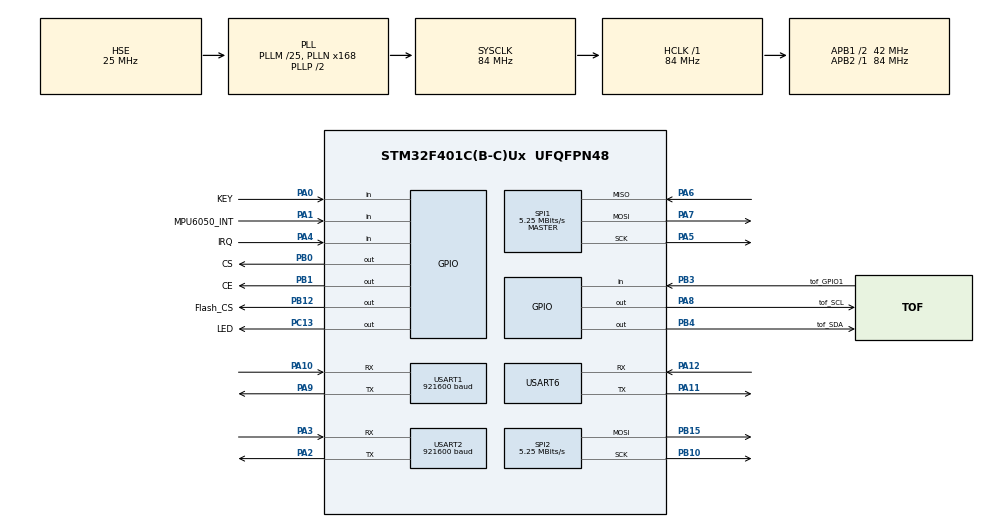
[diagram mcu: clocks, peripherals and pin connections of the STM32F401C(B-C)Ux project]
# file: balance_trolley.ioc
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Dma.MEMTOMEM.4.Direction=DMA_MEMORY_TO_MEMORY
Dma.MEMTOMEM.4.FIFOMode=DMA_FIFOMODE_ENABLE
Dma.MEMTOMEM.4.FIFOThreshold=DMA_FIFO_THRESHOLD_FULL
Dma.MEMTOMEM.4.Instance=DMA2_Stream1
Dma.MEMTOMEM.4.MemBurst=DMA_MBURST_SINGLE
Dma.MEMTOMEM.4.MemDataAlignment=DMA_MDATAALIGN_BYTE
Dma.MEMTOMEM.4.MemInc=DMA_MINC_ENABLE
Dma.MEMTOMEM.4.Mode=DMA_NORMAL
Dma.MEMTOMEM.4.PeriphBurst=DMA_PBURST_SINGLE
Dma.MEMTOMEM.4.PeriphDataAlignment=DMA_PDATAALIGN_BYTE
Dma.MEMTOMEM.4.PeriphInc=DMA_PINC_ENABLE
Dma.MEMTOMEM.4.Priority=DMA_PRIORITY_LOW
Dma.Request0=USART1_RX
Dma.Request1=USART1_TX
Dma.Request2=USART2_RX
Dma.Request3=USART2_TX
Dma.Request4=MEMTOMEM
Dma.Request5=SPI2_TX
Dma.SPI2_TX.5.Direction=DMA_MEMORY_TO_PERIPH
Dma.SPI2_TX.5.FIFOMode=DMA_FIFOMODE_DISABLE
Dma.SPI2_TX.5.Instance=DMA1_Stream4
Dma.SPI2_TX.5.MemDataAlignment=DMA_MDATAALIGN_BYTE
Dma.SPI2_TX.5.MemInc=DMA_MINC_ENABLE
Dma.SPI2_TX.5.Mode=DMA_NORMAL
Dma.SPI2_TX.5.PeriphDataAlignment=DMA_PDATAALIGN_BYTE
Dma.SPI2_TX.5.PeriphInc=DMA_PINC_DISABLE
Dma.SPI2_TX.5.Priority=DMA_PRIORITY_LOW
Dma.USART1_RX.0.Direction=DMA_PERIPH_TO_MEMORY
Dma.USART1_RX.0.FIFOMode=DMA_FIFOMODE_DISABLE
Dma.USART1_RX.0.Instance=DMA2_Stream2
Dma.USART1_RX.0.MemDataAlignment=DMA_MDATAALIGN_BYTE
Dma.USART1_RX.0.MemInc=DMA_MINC_ENABLE
Dma.USART1_RX.0.Mode=DMA_NORMAL
Dma.USART1_RX.0.PeriphDataAlignment=DMA_PDATAALIGN_BYTE
Dma.USART1_RX.0.PeriphInc=DMA_PINC_DISABLE
Dma.USART1_RX.0.Priority=DMA_PRIORITY_VERY_HIGH
Dma.USART1_TX.1.Direction=DMA_MEMORY_TO_PERIPH
Dma.USART1_TX.1.FIFOMode=DMA_FIFOMODE_DISABLE
Dma.USART1_TX.1.Instance=DMA2_Stream7
Dma.USART1_TX.1.MemDataAlignment=DMA_MDATAALIGN_BYTE
Dma.USART1_TX.1.MemInc=DMA_MINC_ENABLE
Dma.USART1_TX.1.Mode=DMA_NORMAL
Dma.USART1_TX.1.PeriphDataAlignment=DMA_PDATAALIGN_BYTE
Dma.USART1_TX.1.PeriphInc=DMA_PINC_DISABLE
Dma.USART1_TX.1.Priority=DMA_PRIORITY_VERY_HIGH
Dma.USART2_RX.2.Direction=DMA_PERIPH_TO_MEMORY
Dma.USART2_RX.2.FIFOMode=DMA_FIFOMODE_DISABLE
Dma.USART2_RX.2.Instance=DMA1_Stream5
Dma.USART2_RX.2.MemDataAlignment=DMA_MDATAALIGN_BYTE
Dma.USART2_RX.2.MemInc=DMA_MINC_ENABLE
Dma.USART2_RX.2.Mode=DMA_NORMAL
Dma.USART2_RX.2.PeriphDataAlignment=DMA_PDATAALIGN_BYTE
Dma.USART2_RX.2.PeriphInc=DMA_PINC_DISABLE
Dma.USART2_RX.2.Priority=DMA_PRIORITY_VERY_HIGH
Dma.USART2_TX.3.Direction=DMA_MEMORY_TO_PERIPH
Dma.USART2_TX.3.FIFOMode=DMA_FIFOMODE_DISABLE
Dma.USART2_TX.3.Instance=DMA1_Stream6
Dma.USART2_TX.3.MemDataAlignment=DMA_MDATAALIGN_BYTE
Dma.USART2_TX.3.MemInc=DMA_MINC_ENABLE
Dma.USART2_TX.3.Mode=DMA_NORMAL
Dma.USART2_TX.3.PeriphDataAlignment=DMA_PDATAALIGN_BYTE
Dma.USART2_TX.3.PeriphInc=DMA_PINC_DISABLE
Dma.USART2_TX.3.Priority=DMA_PRIORITY_VERY_HIGH
FREERTOS.Mutexes01=SPI1_Mutex,Dynamic,NULL
FREERTOS.Tasks01=LED_RGB,0,128,LED_RGB_task,Default,NULL,Dynamic,NULL,NULL;receive_2g4,-2,128,receive_2g4_task,Default,NULL,Dynamic,NULL,NULL;pid_process,-1,512,pid_process_task,Default,NULL,Dynamic,NULL,NULL;receive_JY61,-2,128,receive_JY61_task,Default,NULL,Dynamic,NULL,NULL;receive_Encoder,-2,256,receive_Encoder_task,Default,NULL,Dynamic,NULL,NULL;receive_vl53l0x,-2,256,receive_vl53l0x_task,Default,NULL,Dynamic,NULL,NULL;testTask,-3,128,test_Task,Default,NULL,Dynamic,NULL,NULL;Flash_memory,-1,512,Flash_memory_task,Default,NULL,Dynamic,NULL,NULL
FREERTOS.configCHECK_FOR_STACK_OVERFLOW=0
FREERTOS.configUSE_NEWLIB_REENTRANT=0
Mcu.Family=STM32F4
Mcu.Name=STM32F401C(B-C)Ux
Mcu.Package=UFQFPN48
NVIC.DMA1_Stream4_IRQn=true\:5\:0\:false\:false\:true\:true\:false\:true\:true
NVIC.DMA1_Stream5_IRQn=true\:5\:0\:false\:false\:true\:true\:false\:true\:true
NVIC.DMA1_Stream6_IRQn=true\:5\:0\:false\:false\:true\:true\:false\:true\:true
NVIC.DMA2_Stream2_IRQn=true\:5\:0\:false\:false\:true\:true\:false\:true\:true
NVIC.DMA2_Stream7_IRQn=true\:5\:0\:false\:false\:true\:true\:false\:true\:true
NVIC.PriorityGroup=NVIC_PRIORITYGROUP_4
NVIC.TIM1_BRK_TIM9_IRQn=true\:15\:0\:false\:false\:true\:false\:false\:true\:true
NVIC.TIM1_UP_TIM10_IRQn=true\:5\:0\:true\:false\:true\:true\:true\:true\:true
NVIC.TimeBase=TIM1_BRK_TIM9_IRQn
NVIC.TimeBaseIP=TIM9
PA0-WKUP.GPIO_Label=KEY
PA0-WKUP.GPIO_PuPd=GPIO_PULLUP
PA0-WKUP.Signal=GPIO_Input
PA1.GPIO_Label=MPU6050_INT
PA1.Signal=GPIO_Input
PA10.Mode=Asynchronous
PA10.Signal=USART1_RX
PA11.Mode=Asynchronous
PA11.Signal=USART6_TX
PA12.Mode=Asynchronous
PA12.Signal=USART6_RX
PA13.Mode=Serial_Wire
PA13.Signal=SYS_JTMS-SWDIO
PA14.Mode=Serial_Wire
PA14.Signal=SYS_JTCK-SWCLK
PA2.Mode=Asynchronous
PA2.Signal=USART2_TX
PA3.Mode=Asynchronous
PA3.Signal=USART2_RX
PA4.GPIO_Label=IRQ
PA4.GPIO_PuPd=GPIO_PULLUP
PA4.Signal=GPIO_Input
PA5.Mode=Full_Duplex_Master
PA5.Signal=SPI1_SCK
PA6.Mode=Full_Duplex_Master
PA6.Signal=SPI1_MISO
PA7.Mode=Full_Duplex_Master
PA7.Signal=SPI1_MOSI
PA8.GPIO_Label=tof_SCL
PA8.GPIO_ModeDefaultOutputPP=GPIO_MODE_OUTPUT_OD
PA8.GPIO_PuPd=GPIO_PULLUP
PA8.GPIO_Speed=GPIO_SPEED_FREQ_HIGH
PA8.PinState=GPIO_PIN_SET
PA8.Signal=GPIO_Output
PA9.Mode=Asynchronous
PA9.Signal=USART1_TX
PB0.GPIO_Label=CS
PB0.GPIO_PuPd=GPIO_PULLUP
PB0.GPIO_Speed=GPIO_SPEED_FREQ_HIGH
PB0.PinState=GPIO_PIN_SET
PB0.Signal=GPIO_Output
PB1.GPIO_Label=CE
PB1.GPIO_ModeDefaultOutputPP=GPIO_MODE_OUTPUT_PP
PB1.GPIO_PuPd=GPIO_PULLUP
PB1.GPIO_Speed=GPIO_SPEED_FREQ_HIGH
PB1.PinState=GPIO_PIN_SET
PB1.Signal=GPIO_Output
PB10.Mode=TX_Only_Simplex_Unidirect_Master
PB10.Signal=SPI2_SCK
PB12.GPIO_Label=Flash_CS
PB12.GPIO_PuPd=GPIO_PULLUP
PB12.GPIO_Speed=GPIO_SPEED_FREQ_HIGH
PB12.PinState=GPIO_PIN_SET
PB12.Signal=GPIO_Output
PB15.Mode=TX_Only_Simplex_Unidirect_Master
PB15.Signal=SPI2_MOSI
PB3.GPIO_Label=tof_GPIO1
PB3.Signal=GPIO_Input
PB4.GPIO_Label=tof_SDA
PB4.GPIO_ModeDefaultOutputPP=GPIO_MODE_OUTPUT_OD
PB4.GPIO_PuPd=GPIO_PULLUP
PB4.GPIO_Speed=GPIO_SPEED_FREQ_HIGH
PB4.PinState=GPIO_PIN_SET
PB4.Signal=GPIO_Output
PC13-ANTI_TAMP.GPIO_Label=LED
PC13-ANTI_TAMP.GPIO_PuPd=GPIO_PULLUP
PC13-ANTI_TAMP.GPIO_Speed=GPIO_SPEED_FREQ_LOW
PC13-ANTI_TAMP.PinState=GPIO_PIN_SET
PC13-ANTI_TAMP.Signal=GPIO_Output
PC14-OSC32_IN.Mode=LSE-External-Oscillator
PC14-OSC32_IN.Signal=RCC_OSC32_IN
PC15-OSC32_OUT.Mode=LSE-External-Oscillator
PC15-OSC32_OUT.Signal=RCC_OSC32_OUT
PH0\ -\ OSC_IN.Mode=HSE-External-Oscillator
PH0\ -\ OSC_IN.Signal=RCC_OSC_IN
PH1\ -\ OSC_OUT.Mode=HSE-External-Oscillator
PH1\ -\ OSC_OUT.Signal=RCC_OSC_OUT
ProjectManager.HeapSize=0x200
ProjectManager.StackSize=0x400
ProjectManager.TargetToolchain=MDK-ARM V5.32
RCC.48MHZClocksFreq_Value=42000000
RCC.AHBFreq_Value=84000000
RCC.APB1CLKDivider=RCC_HCLK_DIV2
RCC.APB1Freq_Value=42000000
RCC.APB1TimFreq_Value=84000000
RCC.APB2Freq_Value=84000000
RCC.APB2TimFreq_Value=84000000
RCC.CortexFreq_Value=84000000
RCC.HCLKFreq_Value=84000000
RCC.HSE_VALUE=25000000
RCC.HSI_VALUE=16000000
RCC.PLLM=25
RCC.PLLN=168
RCC.PLLSourceVirtual=RCC_PLLSOURCE_HSE
RCC.SYSCLKFreq_VALUE=84000000
RCC.SYSCLKSource=RCC_SYSCLKSOURCE_PLLCLK
RCC.VCOOutputFreq_Value=168000000
SPI1.BaudRatePrescaler=SPI_BAUDRATEPRESCALER_16
SPI1.CRCCalculation=SPI_CRCCALCULATION_DISABLE
SPI1.CalculateBaudRate=5.25 MBits/s
SPI1.Direction=SPI_DIRECTION_2LINES
SPI1.Mode=SPI_MODE_MASTER
SPI1.VirtualType=VM_MASTER
SPI2.BaudRatePrescaler=SPI_BAUDRATEPRESCALER_8
SPI2.CalculateBaudRate=5.25 MBits/s
SPI2.Direction=SPI_DIRECTION_2LINES
SPI2.Mode=SPI_MODE_MASTER
SPI2.VirtualType=VM_MASTER
TIM10.AutoReloadPreload=TIM_AUTORELOAD_PRELOAD_ENABLE
TIM10.Period=9
TIM10.Prescaler=8399
USART1.BaudRate=921600
USART1.VirtualMode=VM_ASYNC
USART2.BaudRate=921600
USART2.VirtualMode=VM_ASYNC
USART6.VirtualMode=VM_ASYNC
VP_FREERTOS_VS_CMSIS_V1.Mode=CMSIS_V1
VP_SYS_VS_tim9.Mode=TIM9
VP_TIM10_VS_ClockSourceINT.Mode=Enable_Timer
board=custom

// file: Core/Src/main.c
/* USER CODE BEGIN Header */
/**
  ******************************************************************************
  * @file           : main.c
  * @brief          : Main program body
  ******************************************************************************
  * @attention
  *
  * Copyright (c) 2022 STMicroelectronics.
  * All rights reserved.
  *
  * This software is licensed under terms that can be found in the LICENSE file
  * in the root directory of this software component.
  * If no LICENSE file comes with this software, it is provided AS-IS.
  *
  ******************************************************************************
  */
/* USER CODE END Header */
#include "main.h"
#include "cmsis_os.h"
#include "dma.h"
#include "spi.h"
#include "tim.h"
#include "usart.h"
#include "gpio.h"

/* USER CODE BEGIN Includes */
#include "ymodem.h"
/* USER CODE END Includes */

void SystemClock_Config(void);
void MX_FREERTOS_Init(void);

/* USER CODE BEGIN 0 */
extern void VL53L0X_Init(void);
/* USER CODE END 0 */

int main(void)
{
  /* USER CODE BEGIN 1 */
    //重设向量表，当前代码在扇区5
    SCB->VTOR = 0x8020000;
  /* USER CODE END 1 */

  /* MCU Configuration--------------------------------------------------------*/

  /* Reset of all peripherals, Initializes the Flash interface and the Systick. */
  HAL_Init();

  /* Configure the system clock */
  SystemClock_Config();

  /* Initialize all configured peripherals */
  MX_GPIO_Init();
  MX_DMA_Init();
  MX_SPI1_Init();
  MX_USART1_UART_Init();
  MX_USART2_UART_Init();
  MX_USART6_UART_Init();
  MX_SPI2_Init();
  MX_TIM10_Init();
  /* USER CODE BEGIN 2 */
    RTT_printf(0, "Compile Time: %s  %s\n", __DATE__, __TIME__);
    VL53L0X_Init();
    RF2G4_Init();
    if(RF2G4_Check())
    {  RTT_printf(0, "2G4 ERROR!\r\n"); }
    else
    {  RTT_printf(0, "2G4 OK!\r\n"); }
    RTT_printf(0, "HARDWARE init success!\r\n");

    StartUartRxDMA(&huart1); //开启串口1 DMA接收
    StartUartRxDMA(&huart2); //开启串口2 DMA接收

    //确定uart2收到OK字样，驱动完成
    //下面开始进程
  /* USER CODE END 2 */

  /* Call init function for freertos objects (in freertos.c) */
  MX_FREERTOS_Init();

  /* Start scheduler */
  osKernelStart();

  /* We should never get here as control is now taken by the scheduler */
  /* Infinite loop */
    while (1)
    {

    }
}

void SystemClock_Config(void)
{
  RCC_OscInitTypeDef RCC_OscInitStruct = {0};
  RCC_ClkInitTypeDef RCC_ClkInitStruct = {0};

  /** Configure the main internal regulator output voltage
  */
  __HAL_RCC_PWR_CLK_ENABLE();
  __HAL_PWR_VOLTAGESCALING_CONFIG(PWR_REGULATOR_VOLTAGE_SCALE2);

  /** Initializes the RCC Oscillators according to the specified parameters
  * in the RCC_OscInitTypeDef structure.
  */
  RCC_OscInitStruct.OscillatorType = RCC_OSCILLATORTYPE_HSE;
  RCC_OscInitStruct.HSEState = RCC_HSE_ON;
  RCC_OscInitStruct.PLL.PLLState = RCC_PLL_ON;
  RCC_OscInitStruct.PLL.PLLSource = RCC_PLLSOURCE_HSE;
  RCC_OscInitStruct.PLL.PLLM = 25;
  RCC_OscInitStruct.PLL.PLLN = 168;
  RCC_OscInitStruct.PLL.PLLP = RCC_PLLP_DIV2;
  RCC_OscInitStruct.PLL.PLLQ = 4;
  if (HAL_RCC_OscConfig(&RCC_OscInitStruct) != HAL_OK)
  {
    Error_Handler();
  }

  /** Initializes the CPU, AHB and APB buses clocks
  */
  RCC_ClkInitStruct.ClockType = RCC_CLOCKTYPE_HCLK|RCC_CLOCKTYPE_SYSCLK
                              |RCC_CLOCKTYPE_PCLK1|RCC_CLOCKTYPE_PCLK2;
  RCC_ClkInitStruct.SYSCLKSource = RCC_SYSCLKSOURCE_PLLCLK;
  RCC_ClkInitStruct.AHBCLKDivider = RCC_SYSCLK_DIV1;
  RCC_ClkInitStruct.APB1CLKDivider = RCC_HCLK_DIV2;
  RCC_ClkInitStruct.APB2CLKDivider = RCC_HCLK_DIV1;

  if (HAL_RCC_ClockConfig(&RCC_ClkInitStruct, FLASH_LATENCY_2) != HAL_OK)
  {
    Error_Handler();
  }
}

void HAL_TIM_PeriodElapsedCallback(TIM_HandleTypeDef *htim)
{
  /* USER CODE BEGIN Callback 0 */
  static uint32_t usart2_rx_cnt_last=0;
    if (htim->Instance == htim10.Instance)
    {
        uint32_t status_value=taskENTER_CRITICAL_FROM_ISR();            //进入临界区
        RxLen2_x = UART_RX_BUF_SIZE - huart2.hdmarx->Instance->NDTR; // 获取DMA接收长度
        if(RxLen2_x)
        {
          //若相等，则表示串口3目前接收数据完毕
          if(RxLen2_x == usart2_rx_cnt_last || RxLen2_x>134)
          {
            HAL_UART_DMAStop(&huart2);
            g_usart2_rx_end=1;
          }
          else
          {
            usart2_rx_cnt_last = RxLen2_x;
          }
        }
        taskEXIT_CRITICAL_FROM_ISR(status_value);              //退出临界区
    }
  /* USER CODE END Callback 0 */
  if (htim->Instance == TIM9) {
    HAL_IncTick();
  }
  /* USER CODE BEGIN Callback 1 */
    if (htim->Instance == TIM4) {
        //WS2812_Send();
    }
  /* USER CODE END Callback 1 */
}

void Error_Handler(void)
{
    __disable_irq();
    while (1) {
    }
}

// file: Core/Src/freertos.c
/* USER CODE BEGIN Header */
/**
  ******************************************************************************
  * File Name          : freertos.c
  * Description        : Code for freertos applications
  ******************************************************************************
  * @attention
  *
  * Copyright (c) 2022 STMicroelectronics.
  * All rights reserved.
  *
  * This software is licensed under terms that can be found in the LICENSE file
  * in the root directory of this software component.
  * If no LICENSE file comes with this software, it is provided AS-IS.
  *
  ******************************************************************************
  */
/* USER CODE END Header */

#include "FreeRTOS.h"
#include "task.h"
#include "main.h"
#include "cmsis_os.h"

/* USER CODE BEGIN Includes */
#include "usart.h"
#include "pid.h"
#include <string.h>
#include <stdio.h>
#include "Adafruit_NeoPixel.h"
#include "w25qxx.h"
#include "ymodem.h"
/* USER CODE END Includes */

/* USER CODE BEGIN Variables */
uint16_t Tof_Value = 0; //距离
uint8_t upgraded_bit = 0; //升级标志
/* USER CODE END Variables */
osThreadId LED_RGBHandle;
osThreadId receive_2g4Handle;
osThreadId pid_processHandle;
osThreadId receive_JY61Handle;
osThreadId receive_EncoderHandle;
osThreadId receive_vl53l0xHandle;
osThreadId testTaskHandle;
osThreadId Flash_memoryHandle;
osMutexId SPI1_MutexHandle;

/* USER CODE BEGIN FunctionPrototypes */
extern uint16_t VL53L0X_GetValue(void);
/* USER CODE END FunctionPrototypes */

void LED_RGB_task(void const * argument);
void receive_2g4_task(void const * argument);
void pid_process_task(void const * argument);
void receive_JY61_task(void const * argument);
void receive_Encoder_task(void const * argument);
void receive_vl53l0x_task(void const * argument);
void test_Task(void const * argument);
void Flash_memory_task(void const * argument);

void MX_FREERTOS_Init(void); /* (MISRA C 2004 rule 8.1) */

/* GetIdleTaskMemory prototype (linked to static allocation support) */
void vApplicationGetIdleTaskMemory( StaticTask_t **ppxIdleTaskTCBBuffer, StackType_t **ppxIdleTaskStackBuffer, uint32_t *pulIdleTaskStackSize );

/* USER CODE BEGIN GET_IDLE_TASK_MEMORY */
static StaticTask_t xIdleTaskTCBBuffer;
static StackType_t xIdleStack[configMINIMAL_STACK_SIZE];

void vApplicationGetIdleTaskMemory( StaticTask_t **ppxIdleTaskTCBBuffer, StackType_t **ppxIdleTaskStackBuffer, uint32_t *pulIdleTaskStackSize )
{
  *ppxIdleTaskTCBBuffer = &xIdleTaskTCBBuffer;
  *ppxIdleTaskStackBuffer = &xIdleStack[0];
  *pulIdleTaskStackSize = configMINIMAL_STACK_SIZE;
  /* place for user code */
}
/* USER CODE END GET_IDLE_TASK_MEMORY */

void MX_FREERTOS_Init(void) {
  /* Create the mutex(es) */
  /* definition and creation of SPI1_Mutex */
  osMutexDef(SPI1_Mutex);
  SPI1_MutexHandle = osMutexCreate(osMutex(SPI1_Mutex));

  /* Create the thread(s) */
  /* definition and creation of LED_RGB */
  osThreadDef(LED_RGB, LED_RGB_task, osPriorityNormal, 0, 128);
  LED_RGBHandle = osThreadCreate(osThread(LED_RGB), NULL);

  /* definition and creation of receive_2g4 */
  osThreadDef(receive_2g4, receive_2g4_task, osPriorityLow, 0, 128);
  receive_2g4Handle = osThreadCreate(osThread(receive_2g4), NULL);

  /* definition and creation of pid_process */
  osThreadDef(pid_process, pid_process_task, osPriorityBelowNormal, 0, 512);
  pid_processHandle = osThreadCreate(osThread(pid_process), NULL);

  /* definition and creation of receive_JY61 */
  osThreadDef(receive_JY61, receive_JY61_task, osPriorityLow, 0, 128);
  receive_JY61Handle = osThreadCreate(osThread(receive_JY61), NULL);

  /* definition and creation of receive_Encoder */
  osThreadDef(receive_Encoder, receive_Encoder_task, osPriorityLow, 0, 256);
  receive_EncoderHandle = osThreadCreate(osThread(receive_Encoder), NULL);

  /* definition and creation of receive_vl53l0x */
  osThreadDef(receive_vl53l0x, receive_vl53l0x_task, osPriorityLow, 0, 256);
  receive_vl53l0xHandle = osThreadCreate(osThread(receive_vl53l0x), NULL);

  /* definition and creation of testTask */
  osThreadDef(testTask, test_Task, osPriorityIdle, 0, 128);
  testTaskHandle = osThreadCreate(osThread(testTask), NULL);

  /* definition and creation of Flash_memory */
  osThreadDef(Flash_memory, Flash_memory_task, osPriorityBelowNormal, 0, 512);
  Flash_memoryHandle = osThreadCreate(osThread(Flash_memory), NULL);

}

void LED_RGB_task(void const * argument)
{
  /* USER CODE BEGIN LED_RGB_task */
  /* Infinite loop */
  uint16_t sum = 0;
  uint16_t Brightness = 0;
  WS2812B_Init();

    //等待初始化
    while (foc_ready == 0)
    {
        if((RGB_mode_bit&0x80) != 0 && RGB_cmd_bit != 0)
          double_rotating(SKY, YELLOW, 100);
    }

    //初始化完成，闪烁
    if((RGB_mode_bit&0x80) != 0 && RGB_cmd_bit != 0)
    {
        colorWipe(0x44ff00,1);
        osDelay(100);
        colorWipe(0,1);
        osDelay(100);
        colorWipe(0x44ff00,1);
        osDelay(100);
        colorWipe(0,1);
        osDelay(500);
    }

  for(;;)
  {
      if((RGB_mode_bit&0x80)!= 0 && RGB_cmd_bit != 0)
      {
          if((RF2G4_Send_Data[13]&0x7F) == 0)  //正常
          {
              if(pid.brake == 1) //刹车状态
              {
                if(Brightness+1 >= index_wave_num)
                    Brightness = 0;
                else
                    Brightness += 1;
                  rainbow((float)index_wave[Brightness]/255, 2);    //呼吸彩虹
              }
              else
                  rainbowCycle(2);  //旋转彩虹
          }
          else if((RF2G4_Send_Data[13]&0x7F) == 1) //避障
          {
              if(Tof_Value>80 && Tof_Value <= 400)    //响应范围
              {
                //240-400
                    float Red_Value = 0;
                    float Green_Value = 0;
                    if(Tof_Value>240)
                        Red_Value = (float)(400-Tof_Value)/160;
                    else
                        Red_Value = 1;
                  if(Tof_Value>240)
                      Green_Value = (float)(Tof_Value-240)/160;
                  else
                      Green_Value = 0;

                  colorWipe(Color(0xFF*Red_Value, 0xFF*Green_Value, 0),1);  //越近越红
              }
              else if(Tof_Value>400 && Tof_Value!= 0xFFFF)
              {
                  colorWipe(0x00ff00,1);    //超出响应范围全绿
              }
          }
          else if((RF2G4_Send_Data[13]&0x7F) == 2) //跟随
          {
              if(Tof_Value>80 && Tof_Value <= 400)    //响应范围
              {
                  if(Tof_Value>240)
                  {
                      progress_bar(9*(float)(400-Tof_Value)/160,BLUE,PINK,2);   //双层进度条
                  }
                  else if(Tof_Value<=240)
                  {
                      progress_bar(9*(float)(240-Tof_Value)/160+8,BLUE,PINK,2);
                  }
              }
              else  //寻找目标
              {
                  SetPixelColor(0, 0);
                  SetPixelColor(1, 0);
                  SetPixelColor(2, Color(ORANGE.R, ORANGE.G, ORANGE.B));
                  SetPixelColor(3, Color(ORANGE.R, ORANGE.G, ORANGE.B));
                  SetPixelColor(4, 0);
                  SetPixelColor(5, 0);
                  SetPixelColor(6, 0);
                  SetPixelColor(7, 0);
                  osDelay(200);
                  SetPixelColor(0, 0);
                  SetPixelColor(1, 0);
                  SetPixelColor(2, 0);
                  SetPixelColor(3, 0);
                  SetPixelColor(4, 0);
                  SetPixelColor(5, 0);
                  SetPixelColor(6, Color(ORANGE.R, ORANGE.G, ORANGE.B));
                  SetPixelColor(7, Color(ORANGE.R, ORANGE.G, ORANGE.B));
                  osDelay(200);
              }
          }

      }
      else if(RGB_cmd_bit != 0)//遥控灯
      {
            if(RGB_mode_bit == 1)    //远光
            {
                colorWipe(0xFFFFFF, 10);
            }
            else if(RGB_mode_bit == 2)   //警灯
            {
                double_rotating(RED, BLUE, 80);
            }
      }
      else
          colorWipe(0,10);
      //colorWipe(Color(255,255,0),2);

      //rainbowCycle(2);
      if(sum >= 11)
      {

          sum = 0;
      }
      sum++;

      osDelay(10);
  }
  /* USER CODE END LED_RGB_task */
}

void receive_2g4_task(void const * argument)
{
  /* USER CODE BEGIN receive_2g4_task */
  uint8_t ret = 0;
  uint16_t sum = 0; //接收次数计数
  uint16_t count = 0;   //消抖计数
  uint8_t count_mode = 0;
//  uint16_t i = 0;
  uint8_t RGB_mode_bit_last = 0;    //上次模式
    RF2G4_RX_Mode();	// 接收模式

  /* Infinite loop */
  for(;;)
  {
    osMutexWait(SPI1_MutexHandle, portMAX_DELAY);   //等待互斥量
      ret = RF2G4_Rx_Packet((u8 *)RF2G4_Receive_Data, 14);  //第一位是0或1就是按键，其他则是功能码
      if(sum >= 3)  //返回频率 每3次接收返回1次
      {
          sum = 0;
          RF2G4_TX_Mode_X();	// 发射模式
          RF2G4_Tx_Packet((u8 *)RF2G4_Send_Data,14);		//返回车子当前状态
          RF2G4_RX_Mode_X();	// 接收模式
      }
      else if (ret == 0) //收到了数据
      {
          if(RF2G4_Receive_Data[0] == 251 ||    //接收出错
                RF2G4_Receive_Data[1] == 251 ||
                RF2G4_Receive_Data[2] == 251 ||
                RF2G4_Receive_Data[3] == 251 ||
                RF2G4_Receive_Data[4] == 251 ||
                RF2G4_Receive_Data[5] == 251 ||
                RF2G4_Receive_Data[6] == 251 ||
                RF2G4_Receive_Data[7] == 251 ||
                RF2G4_Receive_Data[8] == 251 ||
                RF2G4_Receive_Data[9] == 251 ||
                RF2G4_Receive_Data[10] == 251 ||
                RF2G4_Receive_Data[11] == 251 ||
                RF2G4_Receive_Data[12] == 251 ||
                RF2G4_Receive_Data[13] == 251 )
          {
              //osDelay(10);
              //continue;
          }
          else if(RF2G4_Receive_Data[0] == 0xAA) //请求连接
          {
              RF2G4_TX_Mode_X();	// 发射模式
              RF2G4_Tx_Packet((u8 *)RF2G4_Receive_Data,14);		//返回握手包
              RF2G4_RX_Mode_X();	// 接收模式
              sum = 0;
          }
          else if((RF2G4_Receive_Data[0] == 0 || RF2G4_Receive_Data[0] == 1)) //按键解析
          {
              if(RF2G4_Receive_Data[8] == 1 && foc_ready == 1 && count> 20)    //左摇杆控按下制小车开关
              {
                  count = 0;
                  if(RF2G4_Send_Data[0] != 1)
                  {
                    HAL_UART_Transmit(&huart2, "#START#", strlen("#START#"), 10); //发送开始命令
                    RF2G4_Send_Data[0] = 1;
                  }
                  else if(RF2G4_Send_Data[0] != 0)
                      RF2G4_Send_Data[0] = 0;
              }
              if(RF2G4_Receive_Data[9] == 1 && foc_ready == 1 && count> 20)    //右摇杆控按下模式切换，长按切换pid条件或RGB控制
              {
                    count = 0;
                    count_mode++;
                    if(count_mode >=6)   //长按切换模式
                    {
                        count_mode = 0;
                        RF2G4_Send_Data[13] ^= 0x80;  //取反第八位
                    }

                    if((RF2G4_Send_Data[13]&0x7F) >= 2)
                        RF2G4_Send_Data[13] &= 0x80;
                    else
                        RF2G4_Send_Data[13] ++;
              }
              else if(RF2G4_Receive_Data[9] == 0 && foc_ready == 1 && count> 20)
                   count_mode = 0;

              if((RF2G4_Send_Data[13]&0x80) != 0)     //PID调节模式/////////////////////////////////////////////
              {
                  if(RF2G4_Receive_Data[5] == 1 && count> 10)    //A+
                  {
                      count = 0;
                      pid.Kp += 0.1f;
                      RF2G4_Send_Data[5] = pid.Kp*10;
                  }
                  else if(RF2G4_Receive_Data[4] == 1 && count> 10)    //A
                  {
                      count = 0;
                      pid.Kp -= 0.1f;
                      RF2G4_Send_Data[5] = pid.Kp*10;
                  }

                  if(RF2G4_Receive_Data[7] == 1 && count> 10)    //B+
                  {
                      count = 0;
                      pid.Kd += 0.01f;
                      RF2G4_Send_Data[6] = pid.Kd*100;
                  }
                  else if(RF2G4_Receive_Data[6] == 1 && count> 10)    //B
                  {
                      count = 0;
                      pid.Kd -= 0.01f;
                      RF2G4_Send_Data[6] = pid.Kd*100;
                  }

                  if(RF2G4_Receive_Data[0] == 1 && count> 10)    //UP
                  {
                      count = 0;
                      pid.Kp_speed += 10;
                      pid.Ki_speed = pid.Kp_speed/200;
                      RF2G4_Send_Data[7] = pid.Kp_speed/10;
                  }
                  else if(RF2G4_Receive_Data[1] == 1 && count> 10)    //DOWN
                  {
                      count = 0;
                      pid.Kp_speed -= 10;
                      pid.Ki_speed = pid.Kp_speed/200;
                      RF2G4_Send_Data[7] = pid.Kp_speed/10;
                  }

                  if(RF2G4_Receive_Data[2] == 1 && count> 10)    //LEFT
                  {
                      count = 0;
                      pid.Kd_turn += 0.01f;
                      RF2G4_Send_Data[9] = pid.Kd_turn*-100;
                  }
                  else if(RF2G4_Receive_Data[3] == 1 && count> 10)    //RIGHT
                  {
                      count = 0;
                      pid.Kd_turn -= 0.01f;
                      RF2G4_Send_Data[9] = pid.Kd_turn*-100;
                  }
              }
              else          //RGB调节模式/////////////////////////////////////////////
              {
                  if(RF2G4_Receive_Data[0] == 1 && count> 10)    //UP
                  {
                      count = 0;
                      //RGB亮度
                      if(RGB_cmd_bit*2 >= 1)
                          RGB_cmd_bit = 1;
                      else if(RGB_cmd_bit == 0)
                          RGB_cmd_bit = 0.025f;
                      else
                          RGB_cmd_bit*=2;
                  }
                  else if(RF2G4_Receive_Data[1] == 1 && count> 10)    //DOWN
                  {
                      count = 0;
                      //RGB亮度
                      if(RGB_cmd_bit/2 <= 0.02f)
                          RGB_cmd_bit = 0;
                      else
                          RGB_cmd_bit/=2;
                  }

                  if(RF2G4_Receive_Data[2] == 1 && count> 10)    //LEFT
                  {
                      count = 0;

                  }
                  else if(RF2G4_Receive_Data[3] == 1 && count> 10)    //RIGHT
                  {
                      count = 0;

                  }

                  if(RF2G4_Receive_Data[5] == 1 && count> 10)    //A+
                  {
                      count = 0;
                      //远光
                        if((RGB_mode_bit&0x80)!= 0)
                        {
                            RGB_mode_bit_last = RGB_mode_bit;
                            RGB_mode_bit = 1;
                        }
                        else if(RGB_mode_bit == 1)
                        {
                            RGB_mode_bit = RGB_mode_bit_last;
                        }
                        else
                        {
                            RGB_mode_bit = 1;
                        }

                  }
                  else if(RF2G4_Receive_Data[4] == 1 && count> 10)    //A
                  {
                      count = 0;
                      //警灯
                      if((RGB_mode_bit&0x80)!= 0)
                      {
                          RGB_mode_bit_last = RGB_mode_bit;
                          RGB_mode_bit = 2;
                      }
                      else if(RGB_mode_bit == 2)
                      {
                          RGB_mode_bit = RGB_mode_bit_last;
                      }
                      else
                      {
                          RGB_mode_bit = 2;
                      }
                  }

                  if(RF2G4_Receive_Data[7] == 1 && count> 10)    //B+
                  {
                      count = 0;

                  }
                  else if(RF2G4_Receive_Data[6] == 1 && count> 10)    //B
                  {
                      count = 0;

                  }
              }

              //速度控制
              if(RF2G4_Receive_Data[10]!=0 && (RF2G4_Receive_Data[10]<125 || RF2G4_Receive_Data[10]>145))
              {
                  if((RF2G4_Send_Data[13]&0x7F) != 2)  //不在跟随模式下
                    pid.Set_Speed = (float)RF2G4_Receive_Data[10]*-0.5f/255+0.25f;
                  pid.brake = 0;//刹车标志
              }
              else
              {
                  pid.Set_Speed = 0;
                  if(pid.brake == 0)
                      pid.SEK_speed *= 0.4f;    //累计速度差减弱，刹车更快 0.6
                  pid.brake = 1;//刹车标志
              }

              if((RF2G4_Send_Data[13]&0x7F) != 2)  //不在跟随模式下
              {
                  //大方向控制
                  if(RF2G4_Receive_Data[12]!=0 && (RF2G4_Receive_Data[12]<120 || RF2G4_Receive_Data[12]>145))
                  {
                      pid.Angle_turn += (float)(RF2G4_Receive_Data[12]-127)/10;    //缩小系数
                      if(pid.Angle_turn >= 180)
                          pid.Angle_turn = -179.80f;
                      else if(pid.Angle_turn <= -180)
                          pid.Angle_turn = 179.80f;
                      //RTT_printf(1,":%f\r\n",pid.Angle_turn);
//                      if(RF2G4_Receive_Data[12] <127)
//                      {
//                          pid.Flag_Left = 0;
//                          pid.Flag_Right = 1;
//                          pid.Turn_Amplitude = (float)(RF2G4_Receive_Data[12]-127)/-30;
//                      }
//                      else
//                      {
//                          pid.Flag_Left = 1;
//                          pid.Flag_Right = 0;
//                          pid.Turn_Amplitude = (float)(RF2G4_Receive_Data[12]-127)/30;
//                      }
                  } //小方向控制
                  else if(RF2G4_Receive_Data[11]!=0 && (RF2G4_Receive_Data[11]<110 || RF2G4_Receive_Data[11]>145) &&
                          (RF2G4_Receive_Data[10]<110 || RF2G4_Receive_Data[10]>150))
                  {
                      pid.Angle_turn += (float)(RF2G4_Receive_Data[11]-127)/20;    //缩小系数
                      if(pid.Angle_turn >= 180)
                          pid.Angle_turn = -179.80f;
                      else if(pid.Angle_turn <= -180)
                          pid.Angle_turn = 179.80f;
                      //RTT_printf(1,":%f\r\n",pid.Angle_turn);
//                      if(RF2G4_Receive_Data[11] <127)
//                      {
//                          pid.Flag_Left = 0;
//                          pid.Flag_Right = 1;
//                          pid.Turn_Amplitude = (float)(RF2G4_Receive_Data[11]-127)/-50;
//                      }
//                      else
//                      {
//                          pid.Flag_Left = 1;
//                          pid.Flag_Right = 0;
//                          pid.Turn_Amplitude = (float)(RF2G4_Receive_Data[11]-127)/50;
//                      }
                  }
                  else
                  {
                      pid.Flag_Left = pid.Flag_Right = 0;
                  }
              }
          }
          sum++;

#if 0   //打印所有接收到的信息
          RTT_printf(0, "%d: ",sum);
          for(i = 0; i <14 ; i++)
            RTT_printf(0, "%d,", RF2G4_Receive_Data[i]);
          RTT_printf(0, "\r\n");
#endif
      }
      count++;
      RF2G4_RX_Mode_X();	// 接收模式
      osMutexRelease(SPI1_MutexHandle);//释放互斥量
      osDelay(10);
  }
  /* USER CODE END receive_2g4_task */
}

void pid_process_task(void const * argument)
{
  /* USER CODE BEGIN pid_process_task */
  /* Infinite loop */
    uint8_t cmd = 0;
    int Balance_f = 0, Velocity_f = 0, Turn_f = 0;
    int Moto_Left, Moto_Right;  //最终输出电机电流百分比 最大100，最小-100
    PID_Init();	//初始化pid值
    for(;;)
    {
        if(JY61_res_bit == 1) //读取到数据
        {
            JY61_res_bit = 0;
            if(RF2G4_Send_Data[0] == 1)   //是否使能小车
            {
                //          Moto_Left = (RF2G4_Receive_Data[10] - 127)*50/127;    //摇杆直接控制车轮  （测试）
                //          Moto_Right = (RF2G4_Receive_Data[13] - 127)*50/127;
                pid.Pv = pitch; //角度*10倍
                Balance_f = balance(pid.Pv); //平衡环
                Velocity_f = velocity(Encoder_Left, Encoder_Right); //速度环
                Turn_f = turn(yaw);    //转向环
                //Turn_f = turn_x(Encoder_Left, Encoder_Right, yaw);    //转向环

                Moto_Left = Balance_f + Velocity_f - Turn_f;    //合成输出
                Moto_Right = Balance_f + Velocity_f + Turn_f;    //合成输出
                Xianfu_Pwm(&Moto_Left, &Moto_Right);    //限幅
                sprintf((char *)TxBuffer2,"A%dB%d\r\n", Moto_Left, Moto_Right);
                portDISABLE_INTERRUPTS();   //关中断
                HAL_UART_Transmit(&huart2, (uint8_t *)TxBuffer2, strlen((char *) TxBuffer2), 10);  //输出
                portENABLE_INTERRUPTS();    //开中断
                cmd = 0;
            }else
            {
                Moto_Left = Moto_Right = 0;    //失能电机
                Xianfu_Pwm(NULL, NULL); //限幅滤波清零
                pid.EK_speed = pid.SEK_speed = 0;
                pid.Angle_turn = yaw;   //停止时取得默认朝向
                if(cmd == 0 )
                {
                    cmd = 1;
                    sprintf((char *)TxBuffer2,"A%dB%d\r\n", Moto_Left, Moto_Right);
                    HAL_UART_Transmit(&huart2, (uint8_t *)TxBuffer2, strlen((char *) TxBuffer2), 10);
                    HAL_UART_Transmit(&huart2, (uint8_t *)TxBuffer2, strlen((char *) TxBuffer2), 10);
                    HAL_UART_Transmit(&huart2, (uint8_t *)TxBuffer2, strlen((char *) TxBuffer2), 10);
                    HAL_UART_Transmit(&huart2, "#STOP#", strlen("#STOP#"), 10); //发送停止命令
                }
            }
        }
    osDelay(3);    //10效果较好
    }
  /* USER CODE END pid_process_task */
}

void receive_JY61_task(void const * argument)
{
  /* USER CODE BEGIN receive_JY61_task */
  /* Infinite loop */
  uint8_t sum = 0;
  for(;;)
  {
      if(__HAL_UART_GET_FLAG (&huart1, UART_FLAG_IDLE) != RESET)    //串口空闲标志
      {
          __HAL_UART_CLEAR_IDLEFLAG(&huart1);       //清除标志
          HAL_UART_DMAStop(&huart1);    //停止DMA接收
          RxLen = UART_RX_BUF_SIZE - huart1.hdmarx->Instance->NDTR;  //获取DMA接收长度
          if(RxLen > 0)  //判断接收非空
          {
              for(int i=0;i<RxLen;i++)
              {
                  //RTT_printf(2, "%d,", RxBuffer[i]);
                  if(RxBuffer[i] == 0x55 && RxBuffer[i+1] == 0x51)
                  {
                      //陀螺仪加速度数据处理
                      memcpy(&stcAcc,(uint8_t *)&RxBuffer[i+2],8);

                      aacx = (float)stcAcc.a[0]/32768*16;
                      aacy = (float)stcAcc.a[1]/32768*16;
                      aacz = (float)stcAcc.a[2]/32768*16;
                      //陀螺仪数据
                      //RTT_printf(3,"Acc:%.3f :%.3f :%.3f\r\n",aacx,aacy,aacz);
                  }
                  if(RxBuffer[i] == 0x55 && RxBuffer[i+1] == 0x52)
                  {
                      //陀螺仪角速度数据处理
                      memcpy(&stcGyro,(uint8_t *)&RxBuffer[i+2],8);

                      gyrox = (float)stcGyro.w[0]/32768*2000;
                      gyroy = (float)stcGyro.w[1]/32768*2000;
                      gyroz = (float)stcGyro.w[2]/32768*2000;

                    //角速度限幅滤波
                    if(gyroy > 200 )
                        gyroy = 0;
                    else if(gyroy < -200 )
                        gyroy = 0;

                    if(gyroz > 200 )
                        gyroz = 0;
                    else if(gyroz < -200 )
                        gyroz = 0;

                      //陀螺仪数据
                      //RTT_printf(5,":%.3f :%.3f :%.3f\r\n",gyrox,gyroy,gyroz);
                  }
                  if(RxBuffer[i] == 0x55 && RxBuffer[i+1] == 0x53 && (RxLen-i)>= 11)
                  {
                      //欧拉角数据处理
                      memcpy(&stcAngle,(uint8_t *)&RxBuffer[i+2],8);

                      RF2G4_Send_Data[1] = (stcAngle.Angle[1]>>8)&0xFF;
                      RF2G4_Send_Data[2] = stcAngle.Angle[1]&0xFF;
                      RF2G4_Send_Data[3] = (stcAngle.Angle[2]>>8)&0xFF;
                      RF2G4_Send_Data[4] = stcAngle.Angle[2]&0xFF;

                      pitch = (float)stcAngle.Angle[1]/32768*180;
                      roll = (float)stcAngle.Angle[0]/32768*180;
                      yaw = (float)stcAngle.Angle[2]/32768*180;

                      if((pitch>60 || pitch<-70 ||
                              roll>60 || roll<-60 )&&
                              RF2G4_Send_Data[0] == 1)
                      {
                          sum++;
                          if(sum>=3)    //防止误判
                          {
                              RF2G4_Send_Data[0] = 0x40;   //翻车失能
                              sum = 0;
                          }
                      }
                      else
                      {
                          sum = 0;
                      }
                      //输出角度
                      //RTT_printf(3,"pitch:%.3f roll:%.3f yaw:%.3f\r\n",pitch,roll,yaw);
                      JY61_res_bit = 1;
                  }
              }
              //RTT_printf(2,"\r\n");

          }
          StartUartRxDMA(&huart1);  //开启DMA
      }
    osDelay(5);
  }
  /* USER CODE END receive_JY61_task */
}

void receive_Encoder_task(void const * argument)
{
  /* USER CODE BEGIN receive_Encoder_task */
  /* Infinite loop */
  uint8_t sum = 0;
    float Encoder_Left_new = 0;
    float Encoder_Right_new = 0;
  for(;;)
  {
    if ((RF2G4_Send_Data[0] == 1 || foc_ready == 0) && upgraded_bit == 0) // 小车失能时才接收/////////////////////////////////////////////
    {
      if(__HAL_UART_GET_FLAG (&huart2, UART_FLAG_IDLE) != RESET)    //串口空闲标志
      {
          __HAL_UART_CLEAR_IDLEFLAG(&huart2);       //清除标志
          HAL_UART_DMAStop(&huart2);    //停止DMA接收
          RxLen2 = UART_RX_BUF_SIZE - huart2.hdmarx->Instance->NDTR;  //获取DMA接收长度
          if(RxLen2 > 0)  //判断接收非空
          {

              for(int i = 0; i <RxLen2; i++)
              {
                  if(RxBuffer2[i] == 'L')
                  {
                      Encoder_Left_new = atof((const char *)&RxBuffer2[i+1]);
                      foc_ready = 1;

                    //限幅滤波
                    if((Encoder_Left_new - Encoder_Left > 5) || (Encoder_Left - Encoder_Left_new > 5))
                    {
                        Encoder_Left = Encoder_Left;
                    }
                    else
                    {
                        Encoder_Left = Encoder_Left_new;
                    }
                  }
                  if(RxBuffer2[i] == 'R')
                  {
                      Encoder_Right_new = atof((const char *)&RxBuffer2[i+1]);
                      foc_ready = 1;

                    //限幅滤波
                    if((Encoder_Right_new - Encoder_Right > 5) || (Encoder_Right - Encoder_Right_new > 5))
                    {
                        Encoder_Right = Encoder_Right;
                    }
                    else
                    {
                        Encoder_Right = Encoder_Right_new;
                    }
                  }

                  if((Encoder_Right_new>10 || Encoder_Right_new<-10 || Encoder_Right_new>10 || Encoder_Right_new<-10) && RF2G4_Send_Data[0] == 1)
                  {
                      sum++;
                      if(sum > 20)
                      {
                          RF2G4_Send_Data[0] = 0x80;   //超速失能
                          sum = 0;
                      }
                  }
                  else
                  {
                      sum = 0;
                  }
              //RTT_printf(4,"%f,%f\r\n",Encoder_Left, Encoder_Right);  //打印编码器
            }
          }
          StartUartRxDMA(&huart2);  //开启DMA

      }
    }
    osDelay(10);
  }
  /* USER CODE END receive_Encoder_task */
}

void receive_vl53l0x_task(void const * argument)
{
  /* USER CODE BEGIN receive_vl53l0x_task */
  /* Infinite loop */
  for(;;)
  {
      uint16_t Value = 0;
      Value = VL53L0X_GetValue();

      if(Value!=20 && Value!=8190 && Value!= 8191)
      {
          Tof_Value = Value;
          RTT_printf(2,"d=%d\r\n",Tof_Value);
      }
      else
      {
          Tof_Value = 0xFFFF;
      }

      osDelay(10);
  }
  /* USER CODE END receive_vl53l0x_task */
}

void test_Task(void const * argument)
{
  /* USER CODE BEGIN test_Task */
  /* Infinite loop */
  for(;;)
  {
      HAL_GPIO_TogglePin(LED_GPIO_Port, LED_Pin);   //LED闪烁
      osDelay(100);
  }
  /* USER CODE END test_Task */
}

/* USER CODE BEGIN Header_Flash_memory_task */
/**
* @brief Function implementing the Flash_memory thread.
* @param argument: Not used
* @retval None
*/
    uint8_t datatemp_buf[2048] = {0};
/* USER CODE END Header_Flash_memory_task */
void Flash_memory_task(void const * argument)
{
  /* USER CODE BEGIN Flash_memory_task */
	uint32_t FLASH_SIZE = 0;
    uint32_t sum = 0;

    osMutexWait(SPI1_MutexHandle, portMAX_DELAY);   //等待互斥量
    W25QXX_Init();  //初始化

    if(W25QXX_ReadID() == W25Q64)
    {
        FLASH_SIZE = 64/8*1024*1024;
    }
    else
    {
        RTT_printf(0, "SPI FLASH error:%#x\r\n",W25QXX_ReadID());
        for(;;);
    }
       W25QXX_Read(datatemp_buf,0xD510,2048);
       W25QXX_Read(datatemp_buf, 64/8*1024*1024 - 8,8);
    osMutexRelease(SPI1_MutexHandle); //释放互斥量
  /* Infinite loop */
  for(;;)
  {
        if ((RF2G4_Send_Data[0] != 1 && foc_ready == 1 && PAin(0) == 0) || upgraded_bit == 1) // 小车失能时才接收/////////////////////////////////////////////
        {
              if (__HAL_UART_GET_FLAG(&huart2, UART_FLAG_IDLE) != RESET) // 串口空闲标志
              {
                __HAL_UART_CLEAR_IDLEFLAG(&huart2);                        // 清除标志
                HAL_UART_DMAStop(&huart2);                                 // 停止DMA接收
                RxLen2 = UART_RX_BUF_SIZE - huart2.hdmarx->Instance->NDTR; // 获取DMA接收长度
                if (RxLen2 > 0)                                            // 判断接收非空
                {
                    for(int i = 0; i <RxLen2; i++)
                    {
                        //接收指令
                        if(RxBuffer2[i] == '#')
                        {
                            if(RxBuffer2[i+1] == 'U' && RxBuffer2[i+2] == 'P' && (RxBuffer2[i+3]>='0' && RxBuffer2[i+3]<='9'))
                            {
                                switch(RxBuffer2[i+3])
                                {
                                    case '1': //连接wifi
                                        upgraded_bit = 1;
                                        foc_ready = 0;
                                        RF2G4_Send_Data[12] = 1;
                                    break;
                                    case '2': //连接TCP服务器
                                        RF2G4_Send_Data[12] = 2;
                                    break;
                                    case '3'://开始升级
                                        RF2G4_Send_Data[12] = 3;
                                        vTaskSuspend(pid_processHandle);//挂起多余任务
                                        vTaskSuspend(receive_JY61Handle);
                                        vTaskSuspend(receive_EncoderHandle);
                                        vTaskSuspend(receive_vl53l0xHandle);
                                        HAL_NVIC_EnableIRQ(TIM1_UP_TIM10_IRQn); //使能定时器中断
                                        ymodem_download();// ymodem //------------------------------------------------------------------------------------------
                                        HAL_UART_Transmit(&huart2, "#RST#", strlen("#RST#"), 10); //发送复位命令
                                        NVIC_SystemReset();//复位
                                    break;
                                }
                            }
                        }
                    }
                }
                StartUartRxDMA(&huart2); // 开启DMA
              }

             if(ymodem_get_state()==TO_START && sum>=100)
            {
                ymodem_send_cmd(CCC);
                sum = 0;
            }
        //    osMutexWait(SPI1_MutexHandle, portMAX_DELAY);   //等待互斥量
        //    W25QXX_Read(datatemp_buf,0xD510,1024);
        //    W25QXX_Read(datatemp_buf, 64/8*1024*1024 - 4,4);
        //    osMutexRelease(SPI1_MutexHandle); //释放互斥量
        }

    if(sum>=100)    //一秒
    {
        sum = 100;
    }
    else
        sum++;
    osDelay(10);
  }
  /* USER CODE END Flash_memory_task */
}
